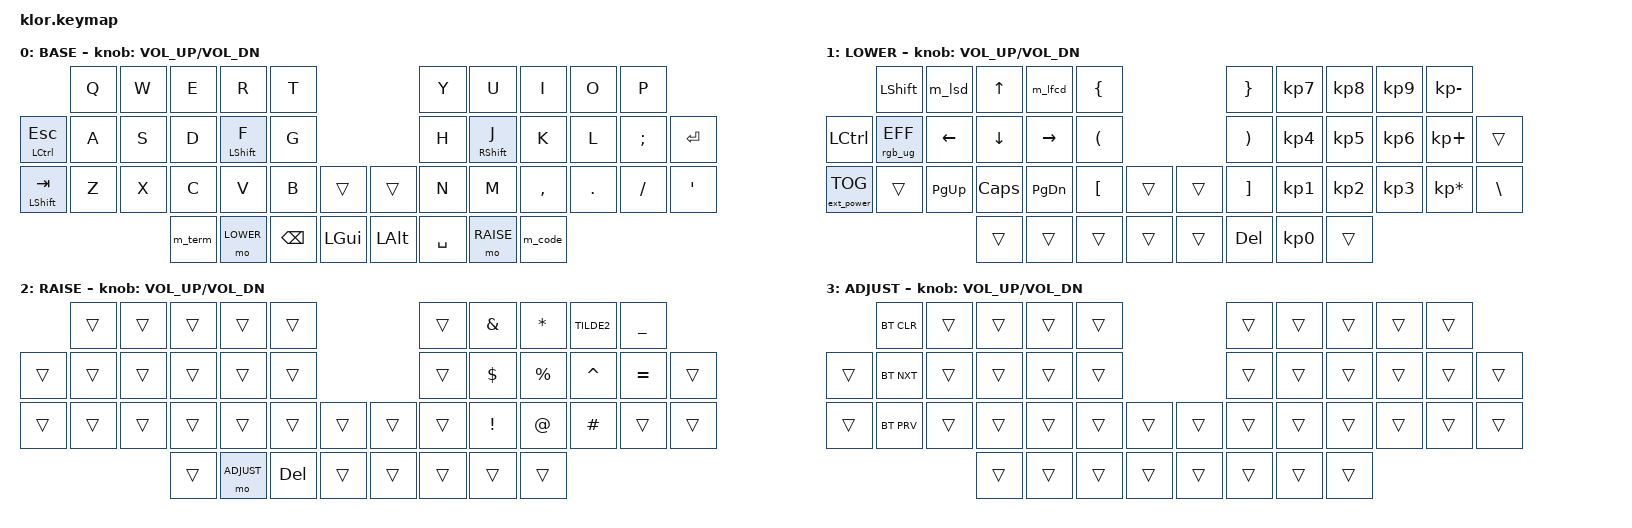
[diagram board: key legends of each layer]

//                               █         █    █            ▄▄▄▀▀▀▀▀▀▄▄▄        █▀▀▀▀▀▀▀▀▀▀█
//                               █        █     █          ▄▀            ▀▄      █          █
//                               █       █      █        ▄▀                ▀▄    █          █
//                               █      █       █        █                  █    █          █
//                               █     █        █       █                    █   █          █
//                               █    █         █       █                    █   █▄▄▄▄▄▄▄▄▄▄█
//                               █   █ █        █       █                    █   █      █
//                               █  █   █       █        █                  █    █       █
//                               █ █     █      █        ▀▄                ▄▀    █        █
//                               ██       █     █          ▀▄            ▄▀      █         █
//                               █         █    █▄▄▄▄▄▄▄▄    ▀▀▀▄▄▄▄▄▄▀▀▀        █          █
//
// ▄▄▄▄▄▄▄▄▄▄▄▄▄▄▄▄▄▄▄▄▄▄▄▄▄▄▄▄▄▄▄▄▄▄▄▄▄▄▄▄▄▄▄▄▄▄▄▄▄▄▄▄▄▄▄▄▄▄▄▄▄▄▄▄▄▄▄▄▄▄▄▄▄▄▄▄▄▄▄▄▄▄▄▄▄▄▄▄▄▄▄▄▄▄▄▄▄▄▄▄▄▄▄▄▄▄▄▄▄▄▄▄▄▄▄▄▄▄▄▄▄▄▄▄▄
       
#include <behaviors.dtsi>
#include <dt-bindings/zmk/keys.h>
#include <dt-bindings/zmk/bt.h>
#include <dt-bindings/zmk/outputs.h>
#include <dt-bindings/zmk/ext_power.h>
#include <dt-bindings/zmk/rgb.h>


#define BASE   0
#define LOWER  1
#define RAISE  2
#define ADJUST 3


/ {
    behaviors {
        hm: homerow_mods {
            compatible = "zmk,behavior-hold-tap";
            label = "HOMEROW_MODS";
            #binding-cells = <2>;
            tapping-term-ms = <150>;
            quick_tap_ms = <0>;
            flavor = "tap-preferred";
            bindings = <&kp>, <&kp>;
        };

    };

    combos {
            compatible = "zmk,combos";
            combo_esc {
                timeout-ms = <50>;
                key-positions = <0 1>;
                bindings = <&kp ESC>;
            };
    };

    macros {
        m_lsd: m_lsd {
            label = "m_lsd";
            compatible = "zmk,behavior-macro";
            #binding-cells = <0>;
            bindings
                = <&macro_tap &kp L &kp S &kp D &kp RET>
                ;
        };
        m_lfcd: m_lfcd {
            label = "m_lfcd";
            compatible = "zmk,behavior-macro";
            #binding-cells = <0>;
            bindings
                = <&macro_tap &kp L &kp F &kp C &kp D &kp RET>
                ;
        };
        m_term: m_term {
            label = "m_term";
            compatible = "zmk,behavior-macro";
            #binding-cells = <0>;
            bindings
                = <&macro_press &kp LGUI>
                , <&macro_tap &kp 1>
                , <&macro_release &kp LGUI>
                ;
        };
        m_code: m_code {
            label = "m_code";
            compatible = "zmk,behavior-macro";
            #binding-cells = <0>;
            bindings
                = <&macro_press &kp LGUI>
                , <&macro_tap &kp 4>
                , <&macro_release &kp LGUI>
                ;
        };

    };



        keymap {
                compatible = "zmk,keymap";
// ▄▄▄▄▄▄▄▄▄▄▄▄▄▄▄▄▄▄▄▄▄▄▄▄▄▄▄▄▄▄▄▄▄▄▄▄▄▄▄▄▄▄▄▄▄▄▄▄▄▄▄▄▄▄▄▄▄▄▄▄▄▄▄▄▄▄▄▄▄▄▄▄▄▄▄▄▄▄▄▄▄▄▄▄▄▄▄▄▄▄▄▄▄▄▄▄▄▄▄▄▄▄▄▄▄▄▄▄▄▄▄▄▄▄▄▄▄▄▄▄▄▄▄▄▄▄▄▄▄▄▄▄▄▄▄▄▄▄▄▄▄▄


                base_layer {
// ┌───────────────────────────────────────────────────────────┐
label= "BASE"                                                  ;
// └───────────────────────────────────────────────────────────┘
/*           ┌─────────┬─────────┬─────────┬─────────┬─────────┐                    ┌─────────┬─────────┬─────────┬─────────┬─────────┐
             │    Q    │    W    │    E    │    R    │    T    │                    │    Y    │    U    │    I    │    O    │    P    │   
   ┌─────────┼─────────┼─────────┼─────────┼─────────┼─────────┤                    ├─────────┼─────────┼─────────┼─────────┼─────────┼─────────┐
   │ CTRL ESC│    A    │    S    │    D    │    F    │    G    │                    │    H    │    J    │    K    │    L    │    ;    │  ENTER  │
   ├─────────┼─────────┼─────────┼─────────┼─────────┼─────────┤╭────────╮╭────────╮├─────────┼─────────┼─────────┼─────────┼─────────┼─────────┤
   │LSHFT TAB│    Z    │    X    │    C    │    V    │    B    ││  MUTE  ││PLY/PSE ││    N    │    M    │    ,    │    .    │    /?   │    '"   │
   └─────────┴─────────┴─────────┼─────────┼─────────┼─────────┼╰────────╯╰────────╯┼─────────┼─────────┼─────────┼─────────┴─────────┴─────────┘
                                 │  TERM   │  LOWER  │  BSPAC  │  SUPER  ││   ALT   │  SPACE  │  RAISE  │  CODE   │  
                                 └─────────┴─────────┴─────────┴─────────┘└─────────┴─────────┴─────────┴─────────┘ */ 
 bindings = <
 //╷         ╷         ╷         ╷         ╷         ╷         ╷         ╷╷         ╷         ╷         ╷         ╷         ╷         ╷         ╷
              &kp Q     &kp W     &kp E     &kp R     &kp T                          &kp Y     &kp U     &kp I     &kp O     &kp P   
&hm LCTRL ESC  &kp A     &kp S     &kp D   &hm LSHFT F &kp G                          &kp H   &hm RSHFT J &kp K     &kp L     &kp SEMI  &kp RET
&hm LSHFT TAB &kp Z     &kp X     &kp C     &kp V     &kp B     &trans     &trans    &kp N     &kp M     &kp COMMA &kp DOT   &kp FSLH  &kp SQT 
                                  &m_term   &mo LOWER &kp BSPC  &kp LGUI   &kp LALT  &kp SPACE  &mo RAISE &m_code    
                        >;
            sensor-bindings = <&inc_dec_kp C_VOL_UP C_VOL_DN>;
                };

// ▄▄▄▄▄▄▄▄▄▄▄▄▄▄▄▄▄▄▄▄▄▄▄▄▄▄▄▄▄▄▄▄▄▄▄▄▄▄▄▄▄▄▄▄▄▄▄▄▄▄▄▄▄▄▄▄▄▄▄▄▄▄▄▄▄▄▄▄▄▄▄▄▄▄▄▄▄▄▄▄▄▄▄▄▄▄▄▄▄▄▄▄▄▄▄▄▄▄▄▄▄▄▄▄▄▄▄▄▄▄▄▄▄▄▄▄▄▄▄▄▄▄▄▄▄▄▄▄▄▄▄▄▄▄▄▄▄▄▄▄▄▄


                lower_layer {
// ┌───────────────────────────────────────────────────────────┐
label= "LOWER"                                                 ;
// └───────────────────────────────────────────────────────────┘
/*           ┌─────────┬─────────┬─────────┬─────────┬─────────┐                    ┌─────────┬─────────┬─────────┬─────────┬─────────┐
             │         │   LSD   │    UP   │  LFCD   │    {    │                    │    }    │    7    │    8    │    9    │    -    │
   ┌─────────┼─────────┼─────────┼─────────┼─────────┼─────────┤                    ├─────────┼─────────┼─────────┼─────────┼─────────┼─────────┐
   │  CTRL   │  LSHFT  │   LEFT  │  DOWN   │  RIGHT  │    (    │                    │    )    │    4    │    5    │    6    │    +    │         │
   ├─────────┼─────────┼─────────┼─────────┼─────────┼─────────┤╭────────╮╭────────╮├─────────┼─────────┼─────────┼─────────┼─────────┼─────────┤
   │ RGB_TOG │ RGB_EFF │   P UP  │ C LOCK  │ P DOWN  │    [    ││        ││        ││    ]    │    1    │    2    │    3    │    *    │   \|    │
   └─────────┴─────────┴─────────┼─────────┼─────────┼─────────┼╰────────╯╰────────╯┼─────────┼─────────┼─────────┼─────────┴─────────┴─────────┘
                                 │         │         │         │         ││         │   DEL   │    0    │         │  
                                 └─────────┴─────────┴─────────┴─────────┘└─────────┴─────────┴─────────┴─────────┘ */ 
 bindings = <
 //╷         ╷         ╷         ╷         ╷         ╷         ╷         ╷╷         ╷         ╷         ╷         ╷         ╷         ╷         ╷
             &kp LSHFT  &m_lsd    &kp UP    &m_lfcd   &kp LBRC                       &kp RBRC  &kp KP_N7 &kp KP_N8 &kp KP_N9 &kp KP_MINUS
&kp LCTRL &rgb_ug RGB_EFF &kp LEFT &kp DOWN &kp RIGHT &kp LPAR                       &kp RPAR  &kp KP_N4 &kp KP_N5 &kp KP_N6 &kp KP_PLUS  &trans
&ext_power EP_TOG &trans &kp PG_UP &kp CAPS &kp PG_DN &kp LBKT  &trans     &trans    &kp RBKT  &kp KP_N1 &kp KP_N2 &kp KP_N3 &kp KP_MULTIPLY &kp BSLH
                                  &trans    &trans    &trans    &trans     &trans    &kp DEL &kp KP_N0 &trans  
                        >;
            sensor-bindings = <&inc_dec_kp C_VOL_UP C_VOL_DN>;
                };

// ▄▄▄▄▄▄▄▄▄▄▄▄▄▄▄▄▄▄▄▄▄▄▄▄▄▄▄▄▄▄▄▄▄▄▄▄▄▄▄▄▄▄▄▄▄▄▄▄▄▄▄▄▄▄▄▄▄▄▄▄▄▄▄▄▄▄▄▄▄▄▄▄▄▄▄▄▄▄▄▄▄▄▄▄▄▄▄▄▄▄▄▄▄▄▄▄▄▄▄▄▄▄▄▄▄▄▄▄▄▄▄▄▄▄▄▄▄▄▄▄▄▄▄▄▄


                raise_layer {
// ┌───────────────────────────────────────────────────────────┐
label= "RAISE"                                                 ;
// └───────────────────────────────────────────────────────────┘
/*           ┌─────────┬─────────┬─────────┬─────────┬─────────┐                    ┌─────────┬─────────┬─────────┬─────────┬─────────┐
             │   *^    │  REW    │  SHUF   │   REC   │   FF    │                    │         │    &    │    *    │    ~    │    _    │
   ┌─────────┼─────────┼─────────┼─────────┼─────────┼─────────┤                    ├─────────┼─────────┼─────────┼─────────┼─────────┼─────────┐
   │         │   *v    │  PREV   │  STOP   │ PLAY/|| │  NEXT   │                    │    `    │    $    │    %    │    ^    │    =    │         │
   ├─────────┼─────────┼─────────┼─────────┼─────────┼─────────┤╭────────╮╭────────╮├─────────┼─────────┼─────────┼─────────┼─────────┼─────────┤
   │         │  BKLT   │         │  SUBTS  │         │         ││        ││        ││         │    !    │    @    │    #    │         │         │
   └─────────┴─────────┴─────────┼─────────┼─────────┼─────────┼╰────────╯╰────────╯┼─────────┼─────────┼─────────┼─────────┴─────────┴─────────┘
                                 │         │ ADJUST  │   DEL   │         ││         │         │         │         │  
                                 └─────────┴─────────┴─────────┴─────────┘└─────────┴─────────┴─────────┴─────────┘ */ 
 bindings = <
 //╷         ╷         ╷         ╷         ╷         ╷         ╷         ╷╷         ╷         ╷         ╷         ╷         ╷         ╷         ╷
              &trans    &trans    &trans    &trans    &trans                         &trans    &kp AMPS  &kp STAR &kp TILDE2 &kp UNDER     
    &trans    &trans    &trans    &trans    &trans    &trans                         &trans    &kp DLLR  &kp PRCNT &kp CARET &kp EQUAL &trans  
    &trans    &trans    &trans    &trans    &trans    &trans    &trans     &trans    &trans    &kp EXCL  &kp AT    &kp HASH  &trans    &trans
                                  &trans  &mo ADJUST  &kp DEL   &trans     &trans    &trans    &trans    &trans  
                        >;
                sensor-bindings = <&inc_dec_kp C_VOL_UP C_VOL_DN>;
                };

// ▄▄▄▄▄▄▄▄▄▄▄▄▄▄▄▄▄▄▄▄▄▄▄▄▄▄▄▄▄▄▄▄▄▄▄▄▄▄▄▄▄▄▄▄▄▄▄▄▄▄▄▄▄▄▄▄▄▄▄▄▄▄▄▄▄▄▄▄▄▄▄▄▄▄▄▄▄▄▄▄▄▄▄▄▄▄▄▄▄▄▄▄▄▄▄▄▄▄▄▄▄▄▄▄▄▄▄▄▄▄▄▄▄▄▄▄▄▄▄▄▄▄▄▄▄


                adjust_layer {
// ┌───────────────────────────────────────────────────────────┐
label= "ADJUST"                                                ;
// └───────────────────────────────────────────────────────────┘
/*           ┌─────────┬─────────┬─────────┬─────────┬─────────┐                    ┌─────────┬─────────┬─────────┬─────────┬─────────┐
             │ BT_CLR  │   F1    │   F2    │   F3    │   F4    │                    │         │         │         │         │         │
   ┌─────────┼─────────┼─────────┼─────────┼─────────┼─────────┤                    ├─────────┼─────────┼─────────┼─────────┼─────────┼─────────┐
   │         │ BT_NXT  │   F5    │   F6    │   F7    │   F8    │                    │         │         │         │         │         │         │
   ├─────────┼─────────┼─────────┼─────────┼─────────┼─────────┤╭────────╮╭────────╮├─────────┼─────────┼─────────┼─────────┼─────────┼─────────┤
   │         │ BT_PRV  │   F9    │  F10    │  F11    │  F12    ││        ││        ││         │         │         │         │         │         │
   └─────────┴─────────┴─────────┼─────────┼─────────┼─────────┼╰────────╯╰────────╯┼─────────┼─────────┼─────────┼─────────┴─────────┴─────────┘
                                 │         │         │         │         ││         │         │         │         │  
                                 └─────────┴─────────┴─────────┴─────────┘└─────────┴─────────┴─────────┴─────────┘ */ 
 bindings = <
 //╷         ╷         ╷         ╷         ╷         ╷         ╷         ╷╷         ╷         ╷         ╷         ╷         ╷         ╷         ╷
             &bt BT_CLR &trans    &trans    &trans    &trans                         &trans    &trans    &trans    &trans    &trans  
    &trans   &bt BT_NXT &trans    &trans    &trans    &trans                         &trans    &trans    &trans    &trans    &trans    &trans 
    &trans   &bt BT_PRV &trans    &trans    &trans    &trans    &trans     &trans    &trans    &trans    &trans    &trans    &trans    &trans    
                                  &trans    &trans    &trans    &trans     &trans    &trans    &trans    &trans    
                        >;
            sensor-bindings = <&inc_dec_kp C_VOL_UP C_VOL_DN>;
                };
        };
};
